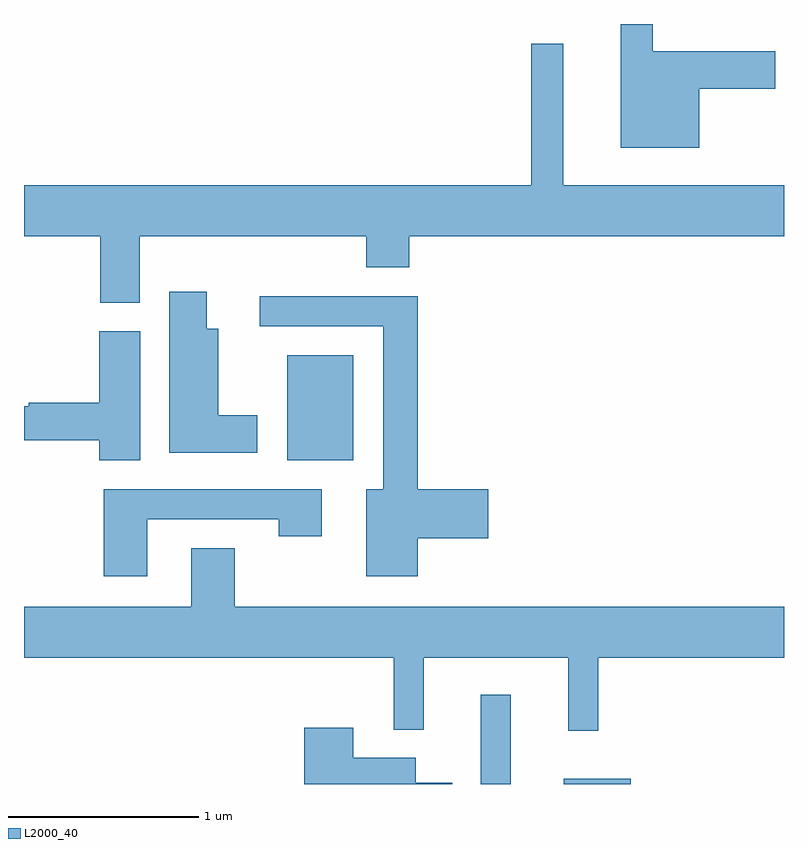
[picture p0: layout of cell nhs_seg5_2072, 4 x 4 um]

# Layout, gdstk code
import gdstk
lib = gdstk.Library(unit=1e-6, precision=1e-09)
def R(c, l, rs):  # rectangles x0, y0, x1, y1
    for r in rs: c.add(gdstk.rectangle(r[:2], r[2:], *l))
def P(c, l, *ps):  # polygons
    for p in ps: c.add(gdstk.Polygon(p, *l))
L2000_40 = (2000, 40)

nhs_seg5_2072 = lib.new_cell('nhs_seg5_2072')
R(nhs_seg5_2072, L2000_40, [(248.016,1516.072,248.174,1516.543), (248.451,1516.072,248.804,1516.099), (246.996,1517.776,247.344,1518.329)])
P(nhs_seg5_2072, L2000_40, [(249.164,1519.731),(249.564,1519.731),(249.564,1519.929),(248.919,1519.929),(248.919,1520.072),(248.751,1520.072),(248.751,1519.421),(249.164,1519.421)],
  [(246.219,1518.956),(247.411,1518.956),(247.411,1518.791),(247.639,1518.791),(247.639,1518.956),(249.611,1518.956),(249.611,1519.224),(248.449,1519.224),(248.449,1519.968),(248.281,1519.968),(248.281,1519.224),(245.611,1519.224),(245.611,1518.956),(246.011,1518.956),(246.011,1518.606),(246.219,1518.606)],
  [(246.839,1518.014),(246.634,1518.014),(246.634,1518.469),(246.574,1518.469),(246.574,1518.664),(246.376,1518.664),(246.376,1517.816),(246.839,1517.816)],
  [(247.684,1517.366),(248.054,1517.366),(248.054,1517.624),(247.684,1517.624),(247.684,1518.639),(246.853,1518.639),(246.853,1518.481),(247.501,1518.481),(247.501,1517.624),(247.411,1517.624),(247.411,1517.166),(247.684,1517.166)],
  [(246.224,1518.454),(246.006,1518.454),(246.006,1518.079),(245.636,1518.079),(245.636,1518.059),(245.611,1518.059),(245.611,1517.881),(246.006,1517.881),(246.006,1517.776),(246.224,1517.776)],
  [(246.259,1517.466),(246.951,1517.466),(246.951,1517.376),(247.179,1517.376),(247.179,1517.624),(246.031,1517.624),(246.031,1517.166),(246.259,1517.166)],
  [(248.634,1516.736),(249.611,1516.736),(249.611,1517.004),(246.719,1517.004),(246.719,1517.314),(246.491,1517.314),(246.491,1517.004),(245.611,1517.004),(245.611,1516.736),(247.556,1516.736),(247.556,1516.358),(247.714,1516.358),(247.714,1516.736),(248.476,1516.736),(248.476,1516.353),(248.634,1516.353)],
  [(247.864,1516.079),(247.674,1516.079),(247.674,1516.209),(247.344,1516.209),(247.344,1516.369),(247.086,1516.369),(247.086,1516.072),(247.864,1516.072)])

lib.write_gds('nhs_seg5_2072.gds')
